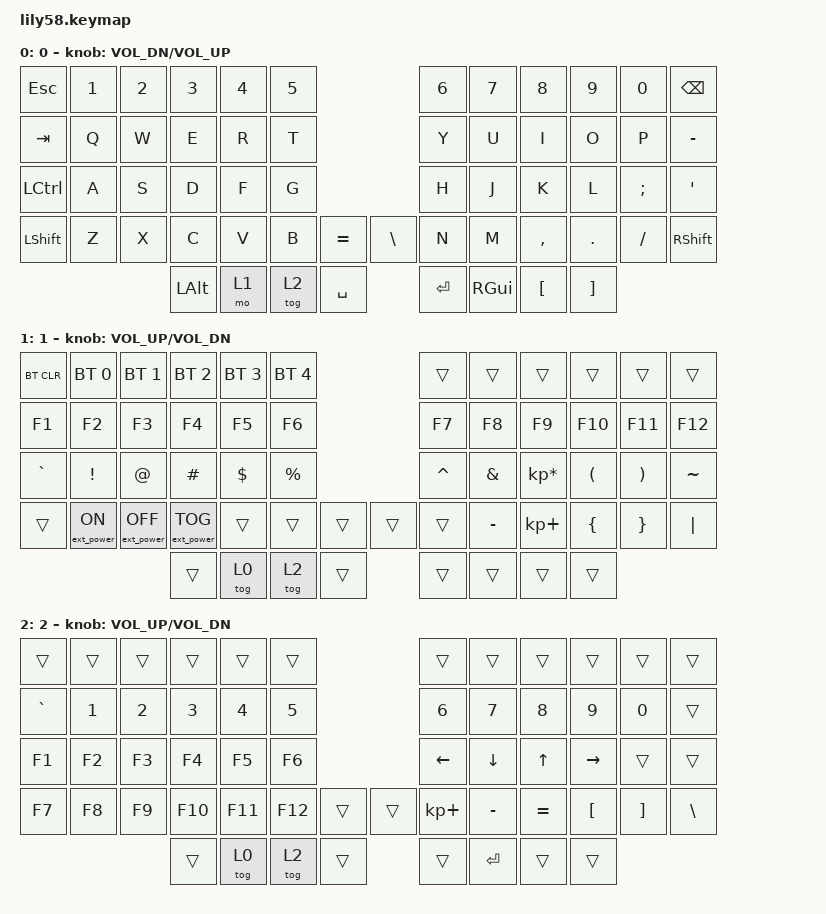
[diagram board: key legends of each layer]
/*
 * Copyright (c) 2020 The ZMK Contributors
 *
 * SPDX-License-Identifier: MIT
 */

#include <behaviors.dtsi>
#include <dt-bindings/zmk/keys.h>
#include <dt-bindings/zmk/bt.h>
#include <dt-bindings/zmk/ext_power.h>

/ {
    keymap {
        compatible = "zmk,keymap";

        0{
// ------------------------------------------------------------------------------------------------------------
// |  ESC  |  1  |  2  |  3   |  4   |  5   |                   |  6   |  7    |  8    |  9   |   0   |   `   |
// |  TAB  |  Q  |  W  |  E   |  R   |  T   |                   |  Y   |  U    |  I    |  O   |   P   |   -   |
// |  CTRL |  A  |  S  |  D   |  F   |  G   |                   |  H   |  J    |  K    |  L   |   ;   |   '   |
// | SHIFT |  Z  |  X  |  C   |  V   |  B   |   "["  |  |  "]"  |  N   |  M    |  ,    |  .   |   /   | SHIFT |
//                     | ALT  | GUI  | LOWER|  SPACE |  | ENTER | RAISE| BSPC  | GUI   |
            bindings = <
&kp ESC   &kp N1 &kp N2 &kp N3   &kp N4   &kp N5                     &kp N6 &kp N7   &kp N8    &kp N9  &kp N0   &kp BSPC
&kp TAB   &kp Q  &kp W  &kp E    &kp R    &kp T                      &kp Y  &kp U    &kp I     &kp O   &kp P    &kp MINUS
&kp LCTRL &kp A  &kp S  &kp D    &kp F    &kp G                      &kp H  &kp J    &kp K     &kp L   &kp SEMICOLON &kp SQT
&kp LSHFT &kp Z  &kp X  &kp C    &kp V    &kp B  &kp EQUAL   &kp BSLH &kp N  &kp M    &kp COMMA &kp DOT &kp FSLH &kp RSHIFT
                        &kp LALT &mo 1 &tog 2 &kp SPACE  &kp RET  &kp RGUI   &kp LEFT_BRACKET &kp RIGHT_BRACKET
            >;

            sensor-bindings = <&inc_dec_kp C_VOL_DN C_VOL_UP>;
        };

        1 {
// ------------------------------------------------------------------------------------------------------------
// | BTCLR | BT1 | BT2 |  BT3 |  BT4 |  BT5 |                   |      |       |       |      |       |       |
// |  F1   |  F2 |  F3 |  F4  |  F5  |  F6  |                   |  F7  |  F8   |  F9   |  F10 |  F11  |  F12  |
// |   `   |  !  |  @  |  #   |  $   |  %   |                   |  ^   |  &    |  *    |  (   |   )   |   ~   |
// |       |     |     |      |      |      |        |  |       |      |  _    |  +    |  {   |   }   |  "|"  |
//                     |      |      |      |        |  |       |      |       |       |
            bindings = <
&bt BT_CLR &bt BT_SEL 0     &bt BT_SEL 1      &bt BT_SEL 2      &bt BT_SEL 3 &bt BT_SEL 4                 &trans    &trans    &trans          &trans    &trans    &trans
&kp F1     &kp F2           &kp F3            &kp F4            &kp F5       &kp F6                       &kp F7    &kp F8    &kp F9          &kp F10   &kp F11   &kp F12
&kp GRAVE  &kp EXCL         &kp AT            &kp HASH          &kp DOLLAR   &kp PRCNT                    &kp CARET &kp AMPS  &kp KP_MULTIPLY &kp LPAR  &kp RPAR  &kp TILDE
&trans     &ext_power EP_ON &ext_power EP_OFF &ext_power EP_TOG &trans       &trans    &trans   &trans    &trans    &kp MINUS &kp KP_PLUS     &kp LBRC  &kp RBRC  &kp PIPE
                                              &trans            &tog 0       &tog 2    &trans   &trans    &trans    &trans    &trans
            >;

            sensor-bindings = <&inc_dec_kp C_VOL_UP C_VOL_DN>;
        };

        2 {
// ------------------------------------------------------------------------------------------------------------
// |       |     |     |      |      |      |                   |      |       |       |      |       |       |
// |   `   |  1  |  2  |  3   |  4   |  5   |                   |  6   |   7   |   8   |  9   |   0   |       |
// |   F1  |  F2 |  F3 |  F4  |  F5  |  F6  |                   |  <-  |   v   |  ^ n  |  ->  |       |       |
// |   F7  |  F8 |  F9 |  F10 |  F11 |  F12 |        |  |       |  +   |   -   |   =   |  [   |   ]   |   \   |
//                     |      |      |      |        |  |       |      |       |       |
            bindings = <
&trans    &trans &trans &trans  &trans  &trans                       &trans      &trans    &trans    &trans   &trans    &trans
&kp GRAVE &kp N1 &kp N2 &kp N3  &kp N4  &kp N5                       &kp N6      &kp N7    &kp N8    &kp N9   &kp N0    &trans
&kp F1    &kp F2 &kp F3 &kp F4  &kp F5  &kp F6                       &kp LEFT  &kp DOWN  &kp UP   &kp RIGHT &trans &trans
&kp F7    &kp F8 &kp F9 &kp F10 &kp F11 &kp F12   &trans   &trans    &kp KP_PLUS &kp MINUS &kp EQUAL &kp LBKT &kp RBKT  &kp BSLH
                        &trans  &tog 0  &tog 2    &trans   &trans    &kp RET      &trans    &trans
            >;

            sensor-bindings = <&inc_dec_kp C_VOL_UP C_VOL_DN>;
        };
    };
};
